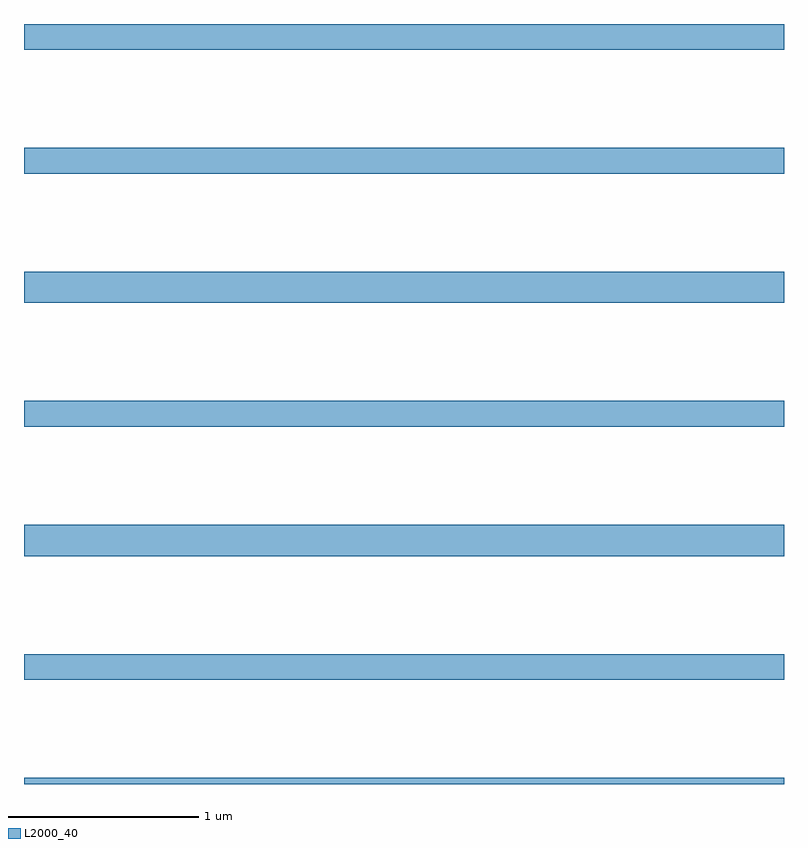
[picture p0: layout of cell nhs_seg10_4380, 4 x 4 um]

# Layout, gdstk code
import gdstk
lib = gdstk.Library(unit=1e-6, precision=1e-09)
def R(c, l, rs):  # rectangles x0, y0, x1, y1
    for r in rs: c.add(gdstk.rectangle(r[:2], r[2:], *l))
def A(c, l, x, y, w, h, nx, ny, dx, dy):  # array of equal rectangles
    R(c, l, [(x+i*dx, y+j*dy, x+i*dx+w, y+j*dy+h) for i in range(nx) for j in range(ny)])
L2000_40 = (2000, 40)

nhs_seg10_4380 = lib.new_cell('nhs_seg10_4380')
A(nhs_seg10_4380, L2000_40, 359, 1249.048, 4, 0.136, 1, 3, 0, 1.332)
R(nhs_seg10_4380, L2000_40, [(359,1248.5,363,1248.532), (359,1249.7,363,1249.864), (359,1251.032,363,1251.196), (359,1252.364,363,1252.5)])

lib.write_gds('nhs_seg10_4380.gds')
